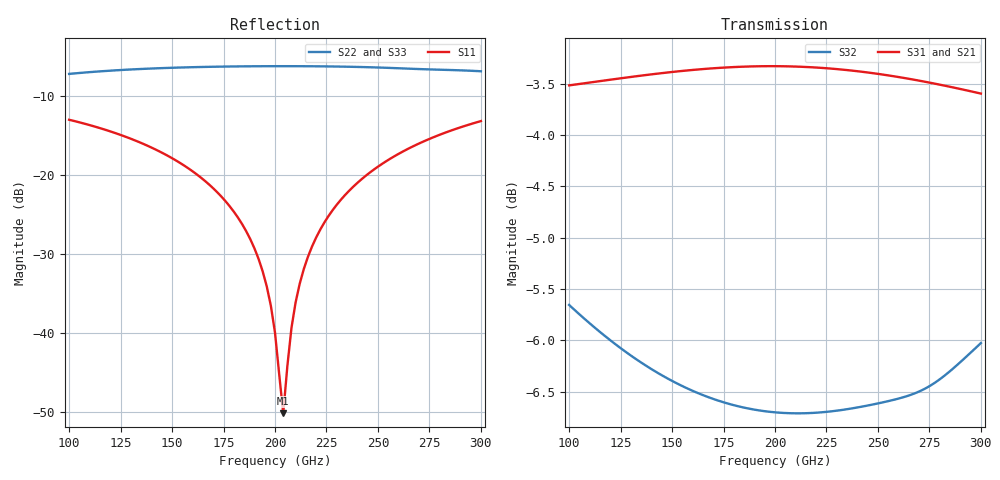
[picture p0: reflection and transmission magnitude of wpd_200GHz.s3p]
#  GHZ S DB R 50
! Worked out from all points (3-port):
!   101 points, 100 GHz to 300 GHz, reference 50 ohm
!   strongest paths, dB at 100 GHz, 150 GHz, 200 GHz, 250 GHz, 300 GHz:
!     S31: -3.5, -3.4, -3.3, -3.4, -3.6
!     S21: -3.5, -3.4, -3.3, -3.4, -3.6
!     S32: -5.7, -6.4, -6.7, -6.6, -6.0
!   lowest |S11| = -50.2 dB at 204 GHz (marker M1), VSWR 1.01, Z = 50.3 - j0.0531 ohm
!   |S11| at or under -10 dB: start of sweep to end of sweep
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100  -12.99 134.2  -3.52 -43.8  -3.52 -43.8
     -3.52 -43.8  -7.18 52.3  -5.66 -96.7
     -3.52 -43.8  -5.66 -96.7  -7.19 52.3
172  -22.19 99.7  -3.35 -76.8  -3.35 -76.8
     -3.35 -76.8  -6.27 9.4  -6.58 -155.7
     -3.35 -76.8  -6.58 -155.7  -6.28 9.3
190  -29.28 88.5  -3.34 -85.2  -3.33 -85.3
     -3.34 -85.2  -6.21 0.6  -6.68 -170.0
     -3.33 -85.3  -6.68 -170.0  -6.23 0.5
200  -39.97 71.1  -3.34 -89.9  -3.33 -90.0
     -3.34 -89.9  -6.20 -4.1  -6.70 -178.0
     -3.33 -90.0  -6.70 -178.0  -6.21 -4.2
204  -50.19 -9.8  -3.34 -91.8  -3.33 -91.9
     -3.34 -91.8  -6.20 -6.0  -6.71 178.9
     -3.33 -91.9  -6.71 178.9  -6.21 -6.1
208  -39.37 -78.3  -3.34 -93.7  -3.33 -93.8
     -3.34 -93.7  -6.20 -7.9  -6.71 175.7
     -3.33 -93.8  -6.71 175.7  -6.21 -8.0
212  -33.77 -88.1  -3.34 -95.6  -3.33 -95.6
     -3.34 -95.6  -6.20 -9.8  -6.71 172.5
     -3.33 -95.6  -6.71 172.5  -6.22 -9.9
226  -25.18 -100.1  -3.36 -102.2  -3.35 -102.3
     -3.36 -102.2  -6.23 -16.4  -6.69 161.3
     -3.35 -102.3  -6.69 161.3  -6.25 -16.5
254  -18.25 -115.0  -3.42 -115.4  -3.42 -115.5
     -3.42 -115.4  -6.40 -30.1  -6.60 138.8
     -3.42 -115.5  -6.60 138.8  -6.42 -30.1
300  -13.16 -136.8  -3.60 -136.7  -3.60 -136.7
     -3.60 -136.7  -6.85 -55.0  -6.03 101.8
     -3.60 -136.7  -6.03 101.8  -6.86 -55.1
